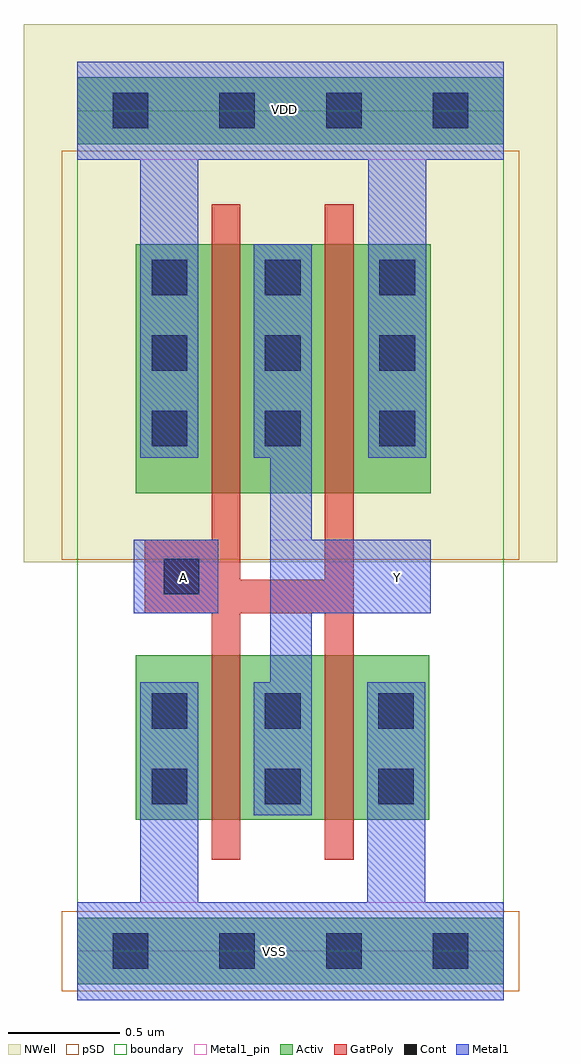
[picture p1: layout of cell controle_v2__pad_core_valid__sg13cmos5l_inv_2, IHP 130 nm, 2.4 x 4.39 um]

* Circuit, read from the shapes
.subckt controle_v2__pad_core_valid__sg13cmos5l_inv_2 A VDD VSS Y
XM1 Y A VSS VSS sg13_lv_nmos w=0.74u l=0.13u m=2
XM2 Y A VDD VDD sg13_lv_pmos w=1.12u l=0.13u m=2
.ends

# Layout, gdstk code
import gdstk
lib = gdstk.Library(unit=1e-6, precision=1e-09)
def R(c, l, rs):  # rectangles x0, y0, x1, y1
    for r in rs: c.add(gdstk.rectangle(r[:2], r[2:], *l))
def A(c, l, x, y, w, h, nx, ny, dx, dy):  # array of equal rectangles
    R(c, l, [(x+i*dx, y+j*dy, x+i*dx+w, y+j*dy+h) for i in range(nx) for j in range(ny)])
def P(c, l, *ps):  # polygons
    for p in ps: c.add(gdstk.Polygon(p, *l))
Activ = (1, 0)
GatPoly = (5, 0)
Cont = (6, 0)
Metal1 = (8, 0)
Metal1_pin = (8, 2)
pSD = (14, 0)
NWell = (31, 0)
boundary = (189, 4)

controle_v2__pad_core_va = lib.new_cell('controle_v2__pad_core_valid__sg13cmos5l_inv_2')
R(controle_v2__pad_core_va, Activ, [(0,-0.15,1.92,0.15), (0.265,0.59,1.585,1.33), (0.265,2.06,1.59,3.18), (0,3.63,1.92,3.93)])
P(controle_v2__pad_core_va, GatPoly, [(0.605,0.41),(0.605,1.52),(0.305,1.52),(0.305,1.85),(0.605,1.85),(0.605,3.36),(0.735,3.36),(0.735,1.67),(1.115,1.67),(1.115,3.36),(1.245,3.36),(1.245,0.41),(1.115,0.41),(1.115,1.52),(0.735,1.52),(0.735,0.41)])
A(controle_v2__pad_core_va, Cont, 0.335, 0.66, 0.16, 0.16, 3, 2, 0.51, 0.34)
A(controle_v2__pad_core_va, Cont, 0.335, 2.27, 0.16, 0.16, 1, 3, 0, 0.34)
A(controle_v2__pad_core_va, Cont, 0.845, 2.27, 0.16, 0.16, 1, 3, 0, 0.34)
A(controle_v2__pad_core_va, Cont, 1.36, 2.27, 0.16, 0.16, 1, 3, 0, 0.34)
R(controle_v2__pad_core_va, Cont, [(0.16,-0.08,0.32,0.08), (0.16,-0.08,0.32,0.08), (0.64,-0.08,0.8,0.08), (0.64,-0.08,0.8,0.08), (1.12,-0.08,1.28,0.08), (1.12,-0.08,1.28,0.08), (1.6,-0.08,1.76,0.08), (1.6,-0.08,1.76,0.08), (0.39,1.605,0.55,1.765), (0.16,3.7,0.32,3.86), (0.16,3.7,0.32,3.86), (0.64,3.7,0.8,3.86), (0.64,3.7,0.8,3.86), (1.12,3.7,1.28,3.86), (1.12,3.7,1.28,3.86), (1.6,3.7,1.76,3.86), (1.6,3.7,1.76,3.86)])
R(controle_v2__pad_core_va, Metal1, [(0.255,1.52,0.635,1.85)])
P(controle_v2__pad_core_va, Metal1, [(0.795,0.61),(0.795,1.21),(0.87,1.21),(0.87,2.22),(0.795,2.22),(0.795,3.18),(1.055,3.18),(1.055,1.85),(1.59,1.85),(1.59,1.52),(1.055,1.52),(1.055,0.61)],
  [(0,-0.22),(0,0.22),(0.285,0.22),(0.285,1.21),(0.545,1.21),(0.545,0.22),(1.305,0.22),(1.305,1.21),(1.565,1.21),(1.565,0.22),(1.92,0.22),(1.92,-0.22)],
  [(0.285,2.22),(0.285,3.56),(0,3.56),(0,4),(1.92,4),(1.92,3.56),(1.57,3.56),(1.57,2.22),(1.31,2.22),(1.31,3.56),(0.545,3.56),(0.545,2.22)])
R(controle_v2__pad_core_va, Metal1_pin, [(0,-0.22,1.92,0.22), (0.255,1.52,0.635,1.85), (0.87,1.52,1.59,1.85), (0,3.56,1.92,4)])
R(controle_v2__pad_core_va, pSD, [(-0.07,-0.18,1.99,0.18), (-0.07,1.76,1.99,3.6)])
R(controle_v2__pad_core_va, NWell, [(-0.24,1.75,2.16,4.17)])
R(controle_v2__pad_core_va, boundary, [(0,0,1.92,3.78)])
controle_v2__pad_core_va.add(gdstk.Label('A', (0.48,1.68), layer=8, texttype=25))
controle_v2__pad_core_va.add(gdstk.Label('Y', (1.44,1.68), layer=8, texttype=25))
controle_v2__pad_core_va.add(gdstk.Label('VDD', (0.935,3.785), layer=8, texttype=25))
controle_v2__pad_core_va.add(gdstk.Label('VSS', (0.89,0), layer=8, texttype=25))

lib.write_gds('controle_v2__pad_core_valid__sg13cmos5l_inv_2.gds')
